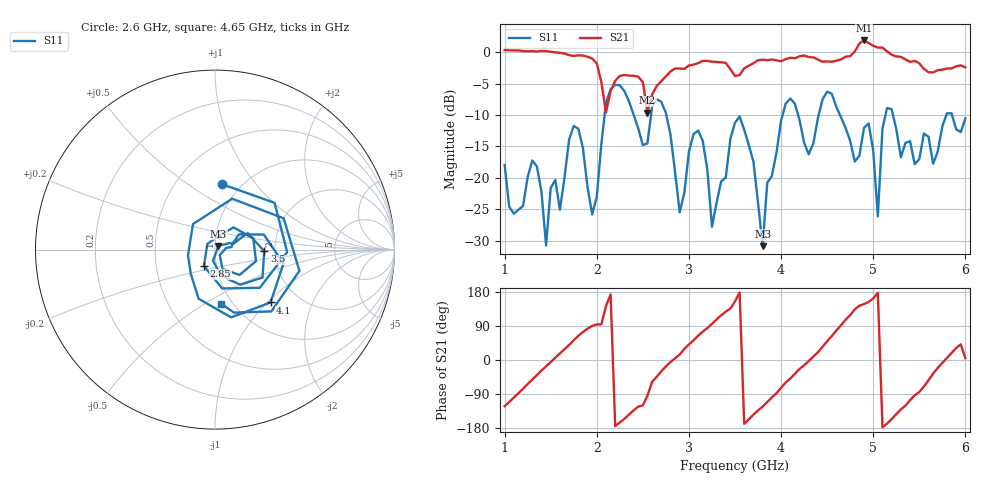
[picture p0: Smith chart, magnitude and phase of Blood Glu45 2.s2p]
! NanoVNA-App
! Date: 2024-03-20 19:53:34
! Start: 1GHz Stop: 6GHz Points: 101
! S-Parameter data: F S11 S21 S12 S22
# Hz S RI R 50
!  Frequency  S11_Real  S11_Imag  S21_Real  S21_Imag  S12_Real  S12_Imag  S22_Real  S22_Imag
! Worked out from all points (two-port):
!   101 points, 1 GHz to 6 GHz, reference 50 ohm
!   highest |S21| = 1.86 dB at 4.9 GHz (marker M1); lowest = -9.6 dB at 2.55 GHz (marker M2)
!   |S21| within 3 dB of the highest: start of sweep to 1.958 GHz; 4.652 GHz to 5.347 GHz (694.9 MHz wide, 13.9 % of centre) (the widest 2 of 3)
!   lowest |S11| = -30.9 dB at 3.8 GHz (marker M3), VSWR 1.06, Z = 51.9 + j2.17 ohm
!   |S11| at or under -10 dB: start of sweep to 2.086 GHz; 2.755 GHz to 4.017 GHz (1.262 GHz wide, 37.3 % of centre); 5.214 GHz to 5.794 GHz (579.4 MHz wide, 10.5 % of centre) (the widest 3 of 7)
!   S12 and S22 are empty: the file has one direction only
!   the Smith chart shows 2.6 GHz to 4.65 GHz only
!   S11 on the Smith chart (normalised r, x): 2.6 GHz: 0.82, +0.69; 2.85 GHz: 0.87, -0.16; 3.5 GHz: 1.75, -0.03; 4.1 GHz: 1.45, -1.05; 4.65 GHz: 0.89, -0.59
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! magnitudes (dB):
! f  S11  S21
! 1 GHz  -18.0  0.3
! 1.35 GHz  -18.2  0.1
! 1.45 GHz  -30.8  0.2
! 1.85 GHz  -15.3  -0.6
! 1.95 GHz  -25.8  -1.0
! 2.15 GHz  -5.9  -6.2
! 2.55 GHz  -14.5  -9.6
! 2.6 GHz  -8.7  -6.8
! 2.7 GHz  -7.9  -4.6
! 2.85 GHz  -19.2  -2.6
! 3.1 GHz  -12.5  -1.8
! 3.25 GHz  -27.8  -1.5
! 3.5 GHz  -11.2  -3.8
! 3.8 GHz  -30.9  -1.2
! 4.1 GHz  -7.4  -0.9
! 4.35 GHz  -14.5  -0.8
! 4.65 GHz  -10.4  -1.2
! 4.9 GHz  -12.1  1.9
! 5.05 GHz  -26.2  0.7
! 5.1 GHz  -12.2  0.7
! 5.2 GHz  -9.1  -0.4
! 6 GHz  -10.5  -2.4
